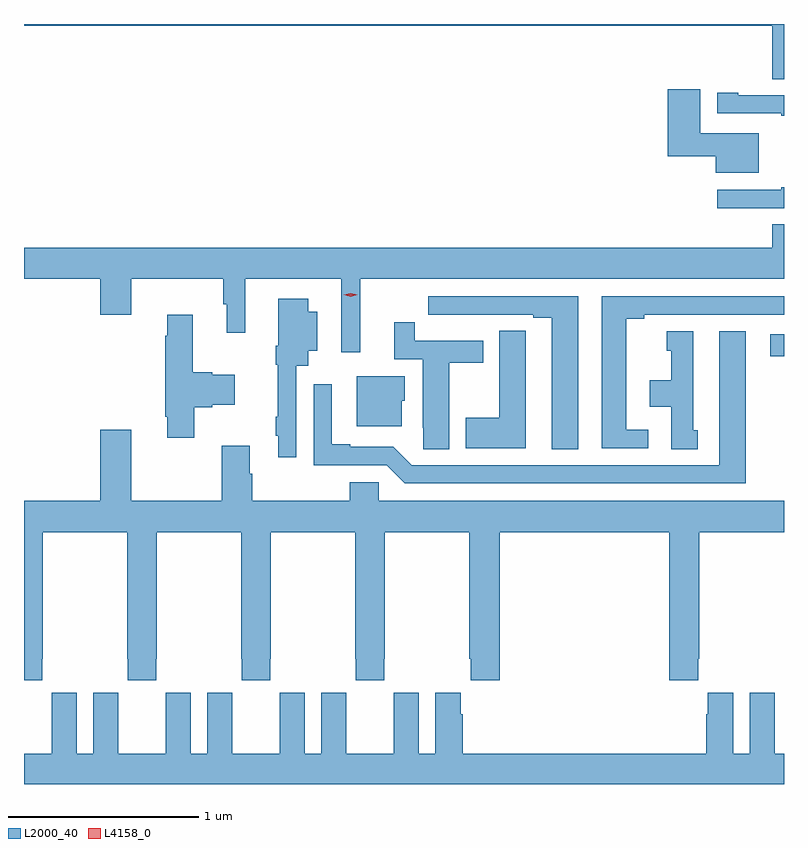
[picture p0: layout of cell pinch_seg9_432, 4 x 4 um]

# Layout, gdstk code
import gdstk
lib = gdstk.Library(unit=1e-6, precision=1e-09)
def R(c, l, rs):  # rectangles x0, y0, x1, y1
    for r in rs: c.add(gdstk.rectangle(r[:2], r[2:], *l))
def P(c, l, *ps):  # polygons
    for p in ps: c.add(gdstk.Polygon(p, *l))
L2000_40 = (2000, 40)
L4158_0 = (4158, 0)

pinch_seg9_432 = lib.new_cell('pinch_seg9_432')
R(pinch_seg9_432, L2000_40, [(144.558,1176.034,144.631,1176.15)])
P(pinch_seg9_432, L2000_40, [(140.631,1177.772),(144.569,1177.772),(144.569,1177.492),(144.631,1177.492),(144.631,1177.782),(140.631,1177.782)],
  [(144.499,1177.207),(144.19,1177.207),(144.19,1177.438),(144.02,1177.438),(144.02,1177.085),(144.272,1177.085),(144.272,1176.998),(144.499,1176.998)],
  [(144.631,1177.407),(144.391,1177.407),(144.391,1177.42),(144.279,1177.42),(144.279,1177.311),(144.617,1177.311),(144.617,1177.299),(144.631,1177.299)],
  [(144.631,1176.922),(144.617,1176.922),(144.617,1176.909),(144.279,1176.909),(144.279,1176.813),(144.631,1176.813)],
  [(142.4,1176.44),(144.631,1176.44),(144.631,1176.728),(144.569,1176.728),(144.569,1176.604),(140.631,1176.604),(140.631,1176.44),(141.032,1176.44),(141.032,1176.252),(141.196,1176.252),(141.196,1176.44),(141.679,1176.44),(141.679,1176.306),(141.698,1176.306),(141.698,1176.156),(141.796,1176.156),(141.796,1176.44),(142.302,1176.44),(142.302,1176.054),(142.4,1176.054)],
  [(143.548,1176.348),(142.758,1176.348),(142.758,1176.252),(142.87,1176.252),(142.87,1176.251),(143.036,1176.251),(143.036,1176.252),(143.312,1176.252),(143.312,1176.237),(143.408,1176.237),(143.408,1175.545),(143.548,1175.545)],
  [(143.917,1175.646),(143.8,1175.646),(143.8,1176.232),(143.896,1176.232),(143.896,1176.252),(144.631,1176.252),(144.631,1176.348),(143.672,1176.348),(143.672,1175.55),(143.917,1175.55)],
  [(142.065,1175.984),(142.126,1175.984),(142.126,1176.062),(142.174,1176.062),(142.174,1176.268),(142.126,1176.268),(142.126,1176.337),(141.968,1176.337),(141.968,1176.088),(141.957,1176.088),(141.957,1175.988),(141.967,1175.988),(141.967,1175.714),(141.957,1175.714),(141.957,1175.614),(141.968,1175.614),(141.968,1175.502),(142.065,1175.502)],
  [(141.528,1175.765),(141.621,1175.765),(141.621,1175.777),(141.739,1175.777),(141.739,1175.935),(141.621,1175.935),(141.621,1175.948),(141.52,1175.948),(141.52,1176.253),(141.386,1176.253),(141.386,1176.14),(141.374,1176.14),(141.374,1175.716),(141.386,1175.716),(141.386,1175.604),(141.528,1175.604)],
  [(142.87,1175.998),(143.047,1175.998),(143.047,1176.114),(142.688,1176.114),(142.688,1176.211),(142.58,1176.211),(142.58,1176.018),(142.73,1176.018),(142.73,1175.656),(142.731,1175.656),(142.731,1175.545),(142.87,1175.545)],
  [(143.272,1176.059),(143.271,1176.059),(143.271,1176.167),(143.132,1176.167),(143.132,1175.709),(142.955,1175.709),(142.955,1175.549),(143.272,1175.549)],
  [(144.43,1176.166),(144.29,1176.166),(144.29,1175.46),(142.671,1175.46),(142.575,1175.556),(142.348,1175.556),(142.348,1175.569),(142.252,1175.569),(142.252,1175.887),(142.155,1175.887),(142.155,1175.46),(142.539,1175.46),(142.635,1175.364),(144.43,1175.364)],
  [(144.178,1175.643),(144.154,1175.643),(144.154,1176.166),(144.014,1176.166),(144.014,1176.063),(144.038,1176.063),(144.038,1175.908),(143.924,1175.908),(143.924,1175.768),(144.038,1175.768),(144.038,1175.545),(144.178,1175.545)],
  [(142.618,1175.799),(142.636,1175.799),(142.636,1175.929),(142.382,1175.929),(142.382,1175.666),(142.618,1175.666)],
  [(140.727,1174.441),(140.73,1174.441),(140.73,1175.108),(141.175,1175.108),(141.175,1174.441),(141.177,1174.441),(141.177,1174.329),(141.327,1174.329),(141.327,1174.441),(141.33,1174.441),(141.33,1175.108),(141.775,1175.108),(141.775,1174.441),(141.777,1174.441),(141.777,1174.329),(141.927,1174.329),(141.927,1174.441),(141.93,1174.441),(141.93,1175.108),(142.375,1175.108),(142.375,1174.441),(142.377,1174.441),(142.377,1174.329),(142.527,1174.329),(142.527,1174.441),(142.53,1174.441),(142.53,1175.108),(142.975,1175.108),(142.975,1174.441),(142.981,1174.441),(142.981,1174.329),(143.135,1174.329),(143.135,1175.108),(144.026,1175.108),(144.026,1174.329),(144.179,1174.329),(144.179,1174.441),(144.186,1174.441),(144.186,1175.108),(144.631,1175.108),(144.631,1175.272),(142.497,1175.272),(142.497,1175.37),(142.346,1175.37),(142.346,1175.272),(141.833,1175.272),(141.833,1175.414),(141.82,1175.414),(141.82,1175.563),(141.673,1175.563),(141.673,1175.272),(141.196,1175.272),(141.196,1175.647),(141.032,1175.647),(141.032,1175.272),(140.631,1175.272),(140.631,1174.329),(140.727,1174.329)],
  [(144.631,1173.94),(144.583,1173.94),(144.583,1174.148),(144.582,1174.148),(144.582,1174.261),(144.452,1174.261),(144.452,1173.94),(144.364,1173.94),(144.364,1174.261),(144.23,1174.261),(144.23,1174.148),(144.221,1174.148),(144.221,1173.94),(142.94,1173.94),(142.94,1174.148),(142.93,1174.148),(142.93,1174.261),(142.796,1174.261),(142.796,1173.94),(142.708,1173.94),(142.708,1174.261),(142.578,1174.261),(142.578,1174.148),(142.577,1174.148),(142.577,1173.94),(142.327,1173.94),(142.327,1174.148),(142.326,1174.148),(142.326,1174.261),(142.196,1174.261),(142.196,1173.94),(142.108,1173.94),(142.108,1174.261),(141.978,1174.261),(141.978,1174.148),(141.977,1174.148),(141.977,1173.94),(141.727,1173.94),(141.727,1174.148),(141.726,1174.148),(141.726,1174.261),(141.596,1174.261),(141.596,1173.94),(141.508,1173.94),(141.508,1174.261),(141.378,1174.261),(141.378,1174.148),(141.377,1174.148),(141.377,1173.94),(141.127,1173.94),(141.127,1174.148),(141.126,1174.148),(141.126,1174.261),(140.996,1174.261),(140.996,1173.94),(140.908,1173.94),(140.908,1174.261),(140.778,1174.261),(140.778,1174.148),(140.777,1174.148),(140.777,1173.94),(140.631,1173.94),(140.631,1173.782),(144.631,1173.782)])
P(pinch_seg9_432, L4158_0, [(142.35,1176.346),(142.315,1176.356),(142.315,1176.356),(142.315,1176.356),(142.35,1176.366),(142.386,1176.356),(142.386,1176.356),(142.386,1176.356)])

lib.write_gds('pinch_seg9_432.gds')
